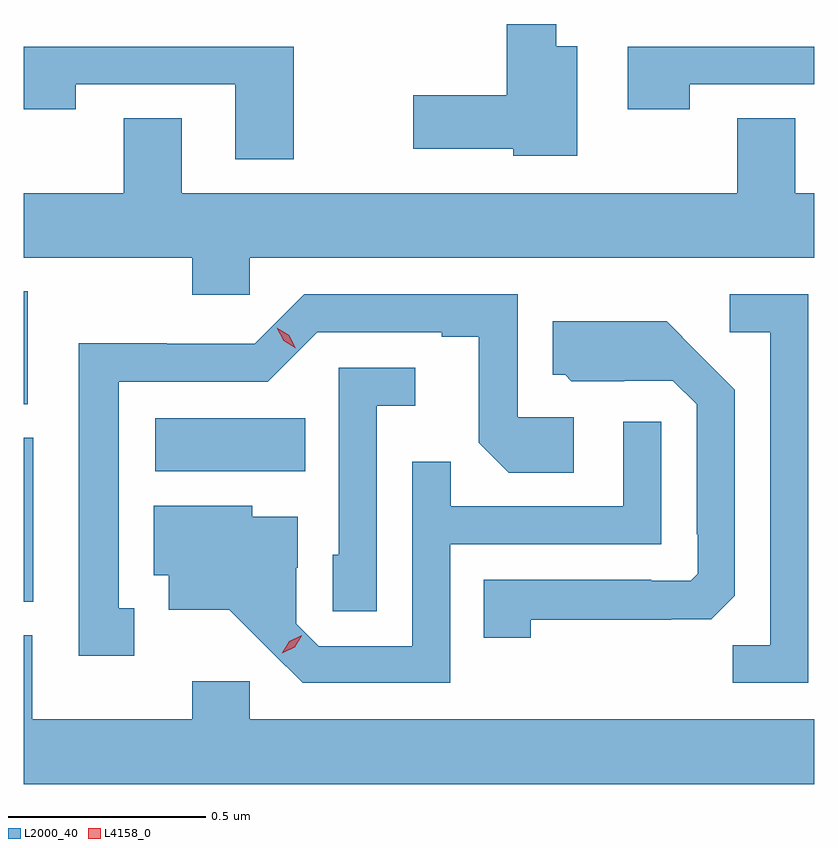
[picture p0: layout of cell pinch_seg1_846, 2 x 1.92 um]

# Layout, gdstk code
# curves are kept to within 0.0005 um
import gdstk
lib = gdstk.Library(unit=1e-6, precision=1e-09)
def R(c, l, rs):  # rectangles x0, y0, x1, y1
    for r in rs: c.add(gdstk.rectangle(r[:2], r[2:], *l))
def P(c, l, *ps):  # polygons
    for p in ps: c.add(gdstk.Polygon(p, *l))
L2000_40 = (2000, 40)
L4158_0 = (4158, 0)

pinch_seg1_846 = lib.new_cell('pinch_seg1_846')
R(pinch_seg1_846, L2000_40, [(484.474,562.849,484.498,563.264), (484.806,563.18,485.186,563.314), (484.474,563.349,484.483,563.635)])
P(pinch_seg1_846, L2000_40, [(485.875,564.256),(485.821,564.256),(485.821,564.312),(485.696,564.312),(485.696,564.131),(485.46,564.131),(485.46,563.996),(485.712,563.996),(485.712,563.978),(485.875,563.978)],
  [(486.159,564.159),(486.474,564.159),(486.474,564.255),(486.003,564.255),(486.003,564.096),(486.159,564.096)],
  [(485.157,564.255),(484.474,564.255),(484.474,564.096),(484.605,564.096),(484.605,564.159),(485.009,564.159),(485.009,563.97),(485.157,563.97)],
  [(485.046,563.72),(486.474,563.72),(486.474,563.884),(486.427,563.884),(486.427,564.074),(486.28,564.074),(486.28,563.884),(484.873,563.884),(484.873,564.074),(484.726,564.074),(484.726,563.884),(484.474,563.884),(484.474,563.72),(484.9,563.72),(484.9,563.627),(485.046,563.627)],
  [(484.753,562.833),(484.714,562.833),(484.714,563.406),(485.091,563.406),(485.217,563.532),(485.531,563.532),(485.531,563.52),(485.625,563.52),(485.625,563.252),(485.701,563.176),(485.866,563.176),(485.866,563.316),(485.724,563.316),(485.724,563.628),(485.184,563.628),(485.058,563.502),(484.836,563.502),(484.836,563.504),(484.613,563.504),(484.613,562.713),(484.753,562.713)],
  [(486.459,563.628),(486.261,563.628),(486.261,563.532),(486.363,563.532),(486.363,562.739),(486.268,562.739),(486.268,562.644),(486.459,562.644)],
  [(485.757,562.804),(486.113,562.804),(486.113,562.805),(486.214,562.805),(486.273,562.864),(486.273,563.386),(486.101,563.56),(485.813,563.56),(485.813,563.424),(485.844,563.424),(485.86,563.408),(485.994,563.408),(485.994,563.409),(486.117,563.409),(486.177,563.349),(486.177,563.02),(486.18,563.02),(486.18,562.92),(486.162,562.902),(486.062,562.902),(486.062,562.905),(485.638,562.905),(485.638,562.758),(485.757,562.758)],
  [(485.367,563.345),(485.464,563.345),(485.464,563.442),(485.271,563.442),(485.271,562.968),(485.256,562.968),(485.256,562.825),(485.367,562.825)],
  [(485.553,562.995),(486.087,562.995),(486.087,563.305),(485.991,563.305),(485.991,563.091),(485.555,563.091),(485.555,563.204),(485.457,563.204),(485.457,562.737),(485.22,562.737),(485.163,562.794),(485.163,562.936),(485.167,562.936),(485.167,563.065),(485.052,563.065),(485.052,563.092),(484.802,563.092),(484.802,562.916),(484.841,562.916),(484.841,562.829),(484.993,562.829),(485.18,562.644),(485.553,562.644)],
  [(486.474,562.552),(485.046,562.552),(485.046,562.648),(484.9,562.648),(484.9,562.552),(484.495,562.552),(484.495,562.764),(484.474,562.764),(484.474,562.388),(486.474,562.388)])
P(pinch_seg1_846, L4158_0, [(485.162,563.491),(485.131,563.51),(485.114,563.543),(485.114,563.543),(485.114,563.543),(485.145,563.524),(485.162,563.491),(485.162,563.491)],
  [(485.128,562.719),(485.128,562.72),(485.146,562.749),(485.177,562.764),(485.177,562.764),(485.177,562.763),(485.159,562.734),(485.128,562.719)])

lib.write_gds('pinch_seg1_846.gds')
